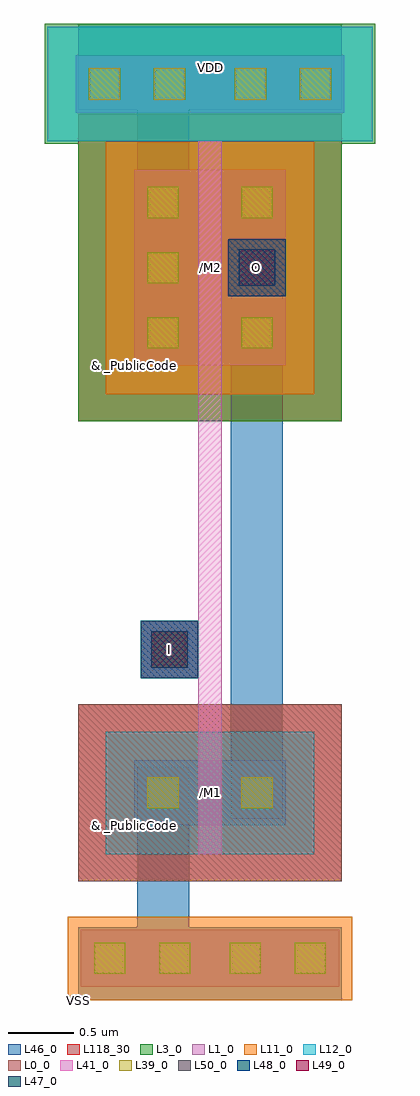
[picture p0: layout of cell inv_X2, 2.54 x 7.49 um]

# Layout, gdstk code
import gdstk
lib = gdstk.Library(unit=1e-6, precision=1e-09)
def R(c, l, rs):  # rectangles x0, y0, x1, y1
    for r in rs: c.add(gdstk.rectangle(r[:2], r[2:], *l))
def A(c, l, x, y, w, h, nx, ny, dx, dy):  # array of equal rectangles
    R(c, l, [(x+i*dx, y+j*dy, x+i*dx+w, y+j*dy+h) for i in range(nx) for j in range(ny)])
def P(c, l, *ps):  # polygons
    for p in ps: c.add(gdstk.Polygon(p, *l))
L0_0 = (0, 0)
L1_0 = (1, 0)
L3_0 = (3, 0)
L11_0 = (11, 0)
L12_0 = (12, 0)
L39_0 = (39, 0)
L41_0 = (41, 0)
L46_0 = (46, 0)
L47_0 = (47, 0)
L48_0 = (48, 0)
L49_0 = (49, 0)
L50_0 = (50, 0)
L118_30 = (118, 30)

m2m3 = lib.new_cell('M2M3')
R(m2m3, L48_0, [(-0.22,-0.22,0.22,0.22)])
R(m2m3, L49_0, [(-0.14,-0.14,0.14,0.14)])
R(m2m3, L50_0, [(-0.22,-0.22,0.22,0.22)])

m1m2 = lib.new_cell('M1M2')
R(m1m2, L46_0, [(-0.22,-0.22,0.22,0.22)])
R(m1m2, L47_0, [(-0.14,-0.14,0.14,0.14)])
R(m1m2, L48_0, [(-0.22,-0.22,0.22,0.22)])

mpoly = lib.new_cell('MPOLY')
R(mpoly, L39_0, [(-0.12,-0.12,0.12,0.12)])
R(mpoly, L41_0, [(-0.22,-0.22,0.22,0.22)])
R(mpoly, L46_0, [(-0.2,-0.2,0.2,0.2)])

inv_x2 = lib.new_cell('inv_X2')
R(inv_x2, L0_0, [(-1.58,-2.76,0.44,-1.4)])
R(inv_x2, L1_0, [(-1.56,-3.57,0.42,-3.13), (-1.15,-2.33,0.01,-1.83), (-1.15,-2.33,-0.66,-1.83), (-0.48,-2.33,0.01,-1.83), (-1.15,1.2,0.01,2.7), (-1.15,1.2,-0.66,2.7), (-0.48,1.2,0.01,2.7), (-1.6,3.14,0.46,3.58)])
R(inv_x2, L3_0, [(-1.58,0.77,0.44,3.13), (-1.84,2.9,0.7,3.82)])
R(inv_x2, L11_0, [(-1.66,-3.67,0.52,-3.03), (-1.37,0.98,0.23,2.92)])
R(inv_x2, L12_0, [(-1.37,-2.55,0.23,-1.61), (-1.82,2.92,0.68,3.8)])
A(inv_x2, L39_0, -1.05, 1.33, 0.24, 0.24, 1, 3, 0, 0.5)
A(inv_x2, L39_0, -0.33, 1.33, 0.24, 0.24, 1, 3, 0, 0.5)
R(inv_x2, L39_0, [(-1.46,-3.47,-1.22,-3.23), (-0.96,-3.47,-0.72,-3.23), (-0.42,-3.47,-0.18,-3.23), (0.08,-3.47,0.32,-3.23), (-1.05,-2.2,-0.81,-1.96), (-0.33,-2.2,-0.09,-1.96), (-1.5,3.24,-1.26,3.48), (-1,3.24,-0.76,3.48), (-0.38,3.24,-0.14,3.48), (0.12,3.24,0.36,3.48)])
R(inv_x2, L41_0, [(-0.66,-2.55,-0.48,-2.33), (-0.66,-2.33,-0.48,-1.83), (-0.66,-1.83,-0.48,-1.61), (-0.66,-1.77,-0.48,1.16), (-0.97,-1.07,-0.67,-0.89), (-0.66,0.98,-0.48,1.2), (-0.66,1.2,-0.48,2.7), (-0.66,2.7,-0.48,2.92)])
R(inv_x2, L46_0, [(-1.58,-3.59,0.44,-3.11), (-1.13,-2.28,-0.73,-1.88), (-0.41,-2.28,-0.01,-1.88), (-0.41,-2.26,-0.01,1.65), (-1.13,1.25,-0.73,2.65), (-0.41,1.25,-0.01,2.65), (-1.13,2.25,-0.73,3.16), (-1.58,3.16,0.44,3.56), (-1.58,3.16,0.44,3.82)])
P(inv_x2, L46_0, [(-1.58,-3.67),(0.44,-3.67),(0.44,-3.11),(-0.73,-3.11),(-0.73,-2.28),(-1.13,-2.28),(-1.13,-3.11),(-1.58,-3.11)])
R(inv_x2, L50_0, [(-1.1,-1.2,-0.66,-0.76), (-0.43,1.73,0.01,2.17)])
R(inv_x2, L118_30, [(-1.58,-2.76,0.44,-1.4), (-1.58,0.77,0.44,3.13)])
inv_x2.add(gdstk.Reference(m2m3, (-0.21,1.95)))
inv_x2.add(gdstk.Reference(m1m2, (-0.88,-0.98)))
inv_x2.add(gdstk.Reference(m1m2, (-0.21,1.95)))
inv_x2.add(gdstk.Reference(m2m3, (-0.88,-0.98)))
inv_x2.add(gdstk.Reference(mpoly, (-0.88,-0.98)))
inv_x2.add(gdstk.Label('& _PublicCode', (-1.15,-2.33), layer=63, texttype=63))
inv_x2.add(gdstk.Label('/M1', (-0.57,-2.08), layer=85, texttype=0))
inv_x2.add(gdstk.Label('& Vendor Mentor', (-1.15,-2.33), layer=63, texttype=63))
inv_x2.add(gdstk.Label('& Product UMC180FDKMFM', (-1.15,-2.33), layer=63, texttype=63))
inv_x2.add(gdstk.Label('& Version A01', (-1.15,-2.33), layer=63, texttype=63))
inv_x2.add(gdstk.Label('& Metric 0', (-1.15,-2.33), layer=63, texttype=63))
inv_x2.add(gdstk.Label('& _PublicCode', (-1.15,1.2), layer=63, texttype=63))
inv_x2.add(gdstk.Label('/M2', (-0.57,1.95), layer=85, texttype=0))
inv_x2.add(gdstk.Label('& Vendor Mentor', (-1.15,1.2), layer=63, texttype=63))
inv_x2.add(gdstk.Label('& Product UMC180FDKMFM', (-1.15,1.2), layer=63, texttype=63))
inv_x2.add(gdstk.Label('& Version A01', (-1.15,1.2), layer=63, texttype=63))
inv_x2.add(gdstk.Label('& Metric 0', (-1.15,1.2), layer=63, texttype=63))
inv_x2.add(gdstk.Label('I', (-0.88,-0.98), layer=103, texttype=0))
inv_x2.add(gdstk.Label('O', (-0.21,1.95), layer=103, texttype=0))
inv_x2.add(gdstk.Label('VSS', (-1.58,-3.67), layer=101, texttype=0))
inv_x2.add(gdstk.Label('VDD', (-0.57,3.49), layer=101, texttype=0))

lib.write_gds('inv_X2.gds')
